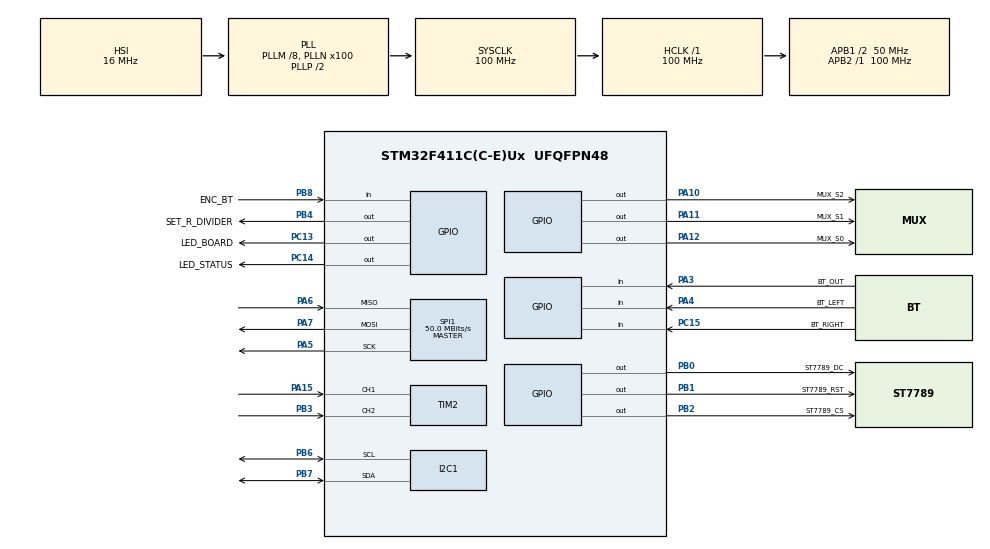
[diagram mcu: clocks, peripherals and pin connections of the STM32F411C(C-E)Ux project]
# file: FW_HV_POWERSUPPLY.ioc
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Dma.Request0=SPI1_RX
Dma.Request1=SPI1_TX
Dma.SPI1_RX.0.Direction=DMA_PERIPH_TO_MEMORY
Dma.SPI1_RX.0.FIFOMode=DMA_FIFOMODE_DISABLE
Dma.SPI1_RX.0.Instance=DMA2_Stream0
Dma.SPI1_RX.0.MemDataAlignment=DMA_MDATAALIGN_BYTE
Dma.SPI1_RX.0.MemInc=DMA_MINC_ENABLE
Dma.SPI1_RX.0.Mode=DMA_CIRCULAR
Dma.SPI1_RX.0.PeriphDataAlignment=DMA_PDATAALIGN_BYTE
Dma.SPI1_RX.0.PeriphInc=DMA_PINC_DISABLE
Dma.SPI1_RX.0.Priority=DMA_PRIORITY_VERY_HIGH
Dma.SPI1_TX.1.Direction=DMA_MEMORY_TO_PERIPH
Dma.SPI1_TX.1.FIFOMode=DMA_FIFOMODE_DISABLE
Dma.SPI1_TX.1.Instance=DMA2_Stream2
Dma.SPI1_TX.1.MemDataAlignment=DMA_MDATAALIGN_BYTE
Dma.SPI1_TX.1.MemInc=DMA_MINC_ENABLE
Dma.SPI1_TX.1.Mode=DMA_NORMAL
Dma.SPI1_TX.1.PeriphDataAlignment=DMA_PDATAALIGN_BYTE
Dma.SPI1_TX.1.PeriphInc=DMA_PINC_DISABLE
Dma.SPI1_TX.1.Priority=DMA_PRIORITY_VERY_HIGH
FREERTOS.Tasks01=defaultTask,0,128,StartDefaultTask,Default,NULL,Dynamic,NULL,NULL
FREERTOS.configUSE_NEWLIB_REENTRANT=1
Mcu.Family=STM32F4
Mcu.Name=STM32F411C(C-E)Ux
Mcu.Package=UFQFPN48
NVIC.DMA2_Stream0_IRQn=true\:5\:0\:false\:false\:true\:true\:false\:true\:true
NVIC.DMA2_Stream2_IRQn=true\:5\:0\:false\:false\:true\:true\:false\:true\:true
NVIC.PriorityGroup=NVIC_PRIORITYGROUP_4
NVIC.SPI1_IRQn=true\:5\:0\:false\:false\:true\:true\:true\:true\:true
NVIC.TIM1_UP_TIM10_IRQn=true\:15\:0\:false\:false\:true\:false\:false\:true\:true
NVIC.TimeBase=TIM1_UP_TIM10_IRQn
NVIC.TimeBaseIP=TIM1
PA10.GPIO_Label=MUX_S2
PA10.GPIO_PuPd=GPIO_PULLDOWN
PA10.Signal=GPIO_Output
PA11.GPIO_Label=MUX_S1
PA11.GPIO_PuPd=GPIO_PULLDOWN
PA11.Signal=GPIO_Output
PA12.GPIO_Label=MUX_S0
PA12.GPIO_PuPd=GPIO_PULLDOWN
PA12.Signal=GPIO_Output
PA13.Mode=Serial_Wire
PA13.Signal=SYS_JTMS-SWDIO
PA14.Mode=Serial_Wire
PA14.Signal=SYS_JTCK-SWCLK
PA15.Signal=S_TIM2_CH1_ETR
PA3.GPIO_Label=BT_OUT
PA3.Signal=GPIO_Input
PA4.GPIO_Label=BT_LEFT
PA4.Signal=GPIO_Input
PA5.Mode=Full_Duplex_Master
PA5.Signal=SPI1_SCK
PA6.Mode=Full_Duplex_Master
PA6.Signal=SPI1_MISO
PA7.Mode=Full_Duplex_Master
PA7.Signal=SPI1_MOSI
PB0.GPIO_Label=ST7789_DC
PB0.Signal=GPIO_Output
PB1.GPIO_Label=ST7789_RST
PB1.Signal=GPIO_Output
PB2.GPIO_Label=ST7789_CS
PB2.Signal=GPIO_Output
PB3.Signal=S_TIM2_CH2
PB4.GPIO_Label=SET_R_DIVIDER
PB4.GPIO_PuPd=GPIO_PULLDOWN
PB4.Signal=GPIO_Output
PB6.Mode=I2C
PB6.Signal=I2C1_SCL
PB7.Mode=I2C
PB7.Signal=I2C1_SDA
PB8.GPIO_Label=ENC_BT
PB8.Signal=GPIO_Input
PC13-ANTI_TAMP.GPIO_Label=LED_BOARD
PC13-ANTI_TAMP.Signal=GPIO_Output
PC14-OSC32_IN.GPIO_Label=LED_STATUS
PC14-OSC32_IN.Signal=GPIO_Output
PC15-OSC32_OUT.GPIO_Label=BT_RIGHT
PC15-OSC32_OUT.Signal=GPIO_Input
PH0\ -\ OSC_IN.Mode=HSE-External-Oscillator
PH0\ -\ OSC_IN.Signal=RCC_OSC_IN
PH1\ -\ OSC_OUT.Mode=HSE-External-Oscillator
PH1\ -\ OSC_OUT.Signal=RCC_OSC_OUT
ProjectManager.HeapSize=0x200
ProjectManager.StackSize=0x400
ProjectManager.TargetToolchain=STM32CubeIDE
RCC.48MHZClocksFreq_Value=50000000
RCC.AHBFreq_Value=100000000
RCC.APB1CLKDivider=RCC_HCLK_DIV2
RCC.APB1Freq_Value=50000000
RCC.APB1TimFreq_Value=100000000
RCC.APB2Freq_Value=100000000
RCC.APB2TimFreq_Value=100000000
RCC.CortexFreq_Value=100000000
RCC.HCLKFreq_Value=100000000
RCC.HSE_VALUE=25000000
RCC.HSI_VALUE=16000000
RCC.LSE_VALUE=32768
RCC.PLLM=8
RCC.PLLN=100
RCC.SYSCLKFreq_VALUE=100000000
RCC.SYSCLKSource=RCC_SYSCLKSOURCE_PLLCLK
RCC.VCOOutputFreq_Value=200000000
SH.S_TIM2_CH1_ETR.0=TIM2_CH1,Encoder_Interface
SH.S_TIM2_CH2.0=TIM2_CH2,Encoder_Interface
SPI1.CLKPolarity=SPI_POLARITY_HIGH
SPI1.CalculateBaudRate=50.0 MBits/s
SPI1.Direction=SPI_DIRECTION_2LINES
SPI1.Mode=SPI_MODE_MASTER
SPI1.VirtualType=VM_MASTER
TIM2.AutoReloadPreload=TIM_AUTORELOAD_PRELOAD_ENABLE
TIM2.EncoderMode=TIM_ENCODERMODE_TI12
TIM2.IC1Filter=12
TIM2.IC2Filter=0
VP_FREERTOS_VS_CMSIS_V1.Mode=CMSIS_V1
VP_SYS_VS_tim1.Mode=TIM1
board=custom

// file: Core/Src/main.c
/* USER CODE BEGIN Header */
/**
  ******************************************************************************
  * @file           : main.c
  * @brief          : Main program body
  ******************************************************************************
  * @attention
  *
  * Copyright (c) 2025 STMicroelectronics.
  * All rights reserved.
  *
  * This software is licensed under terms that can be found in the LICENSE file
  * in the root directory of this software component.
  * If no LICENSE file comes with this software, it is provided AS-IS.
  *
  ******************************************************************************
  */
/* USER CODE END Header */
#include "main.h"
#include "cmsis_os.h"

/* USER CODE BEGIN Includes */

#include "st7789.h"
#include "fonts.h"
#include "hmi.h"
#include "encoder.h"
#include "dac.h"
#include "adc.h"
#include "app.h"
/* USER CODE END Includes */

I2C_HandleTypeDef hi2c1;

SPI_HandleTypeDef hspi1;
DMA_HandleTypeDef hdma_spi1_rx;
DMA_HandleTypeDef hdma_spi1_tx;

TIM_HandleTypeDef htim2;

osThreadId defaultTaskHandle;

void SystemClock_Config(void);
static void MX_GPIO_Init(void);
static void MX_DMA_Init(void);
static void MX_SPI1_Init(void);
static void MX_TIM2_Init(void);
static void MX_I2C1_Init(void);
void StartDefaultTask(void const * argument);

int main(void)
{

  /* MCU Configuration--------------------------------------------------------*/

  /* Reset of all peripherals, Initializes the Flash interface and the Systick. */
  HAL_Init();

  /* Configure the system clock */
  SystemClock_Config();

  /* Initialize all configured peripherals */
  MX_GPIO_Init();
  MX_DMA_Init();
  MX_SPI1_Init();
  MX_TIM2_Init();
  MX_I2C1_Init();
  /* USER CODE BEGIN 2 */

  HAL_TIM_Encoder_Start(&htim2, TIM_CHANNEL_ALL);

  DAC_MCP4725_set(DAC_VOLTAGE, 0);
  DAC_MCP4725_set(DAC_CURRENT, 0);

  /* USER CODE END 2 */

  /* Create the thread(s) */
  /* definition and creation of defaultTask */
  osThreadDef(defaultTask, StartDefaultTask, osPriorityNormal, 0, 128);
  defaultTaskHandle = osThreadCreate(osThread(defaultTask), NULL);

  /* Start scheduler */
  osKernelStart();

  /* We should never get here as control is now taken by the scheduler */

  /* Infinite loop */
  while (1)
  {

  }
}

void SystemClock_Config(void)
{
  RCC_OscInitTypeDef RCC_OscInitStruct = {0};
  RCC_ClkInitTypeDef RCC_ClkInitStruct = {0};

  /** Configure the main internal regulator output voltage
  */
  __HAL_RCC_PWR_CLK_ENABLE();
  __HAL_PWR_VOLTAGESCALING_CONFIG(PWR_REGULATOR_VOLTAGE_SCALE1);

  /** Initializes the RCC Oscillators according to the specified parameters
  * in the RCC_OscInitTypeDef structure.
  */
  RCC_OscInitStruct.OscillatorType = RCC_OSCILLATORTYPE_HSI;
  RCC_OscInitStruct.HSIState = RCC_HSI_ON;
  RCC_OscInitStruct.HSICalibrationValue = RCC_HSICALIBRATION_DEFAULT;
  RCC_OscInitStruct.PLL.PLLState = RCC_PLL_ON;
  RCC_OscInitStruct.PLL.PLLSource = RCC_PLLSOURCE_HSI;
  RCC_OscInitStruct.PLL.PLLM = 8;
  RCC_OscInitStruct.PLL.PLLN = 100;
  RCC_OscInitStruct.PLL.PLLP = RCC_PLLP_DIV2;
  RCC_OscInitStruct.PLL.PLLQ = 4;
  if (HAL_RCC_OscConfig(&RCC_OscInitStruct) != HAL_OK)
  {
    Error_Handler();
  }

  /** Initializes the CPU, AHB and APB buses clocks
  */
  RCC_ClkInitStruct.ClockType = RCC_CLOCKTYPE_HCLK|RCC_CLOCKTYPE_SYSCLK
                              |RCC_CLOCKTYPE_PCLK1|RCC_CLOCKTYPE_PCLK2;
  RCC_ClkInitStruct.SYSCLKSource = RCC_SYSCLKSOURCE_PLLCLK;
  RCC_ClkInitStruct.AHBCLKDivider = RCC_SYSCLK_DIV1;
  RCC_ClkInitStruct.APB1CLKDivider = RCC_HCLK_DIV2;
  RCC_ClkInitStruct.APB2CLKDivider = RCC_HCLK_DIV1;

  if (HAL_RCC_ClockConfig(&RCC_ClkInitStruct, FLASH_LATENCY_3) != HAL_OK)
  {
    Error_Handler();
  }
}

static void MX_I2C1_Init(void)
{

  hi2c1.Instance = I2C1;
  hi2c1.Init.ClockSpeed = 100000;
  hi2c1.Init.DutyCycle = I2C_DUTYCYCLE_2;
  hi2c1.Init.OwnAddress1 = 0;
  hi2c1.Init.AddressingMode = I2C_ADDRESSINGMODE_7BIT;
  hi2c1.Init.DualAddressMode = I2C_DUALADDRESS_DISABLE;
  hi2c1.Init.OwnAddress2 = 0;
  hi2c1.Init.GeneralCallMode = I2C_GENERALCALL_DISABLE;
  hi2c1.Init.NoStretchMode = I2C_NOSTRETCH_DISABLE;
  if (HAL_I2C_Init(&hi2c1) != HAL_OK)
  {
    Error_Handler();
  }

}

static void MX_SPI1_Init(void)
{

  /* SPI1 parameter configuration*/
  hspi1.Instance = SPI1;
  hspi1.Init.Mode = SPI_MODE_MASTER;
  hspi1.Init.Direction = SPI_DIRECTION_2LINES;
  hspi1.Init.DataSize = SPI_DATASIZE_8BIT;
  hspi1.Init.CLKPolarity = SPI_POLARITY_HIGH;
  hspi1.Init.CLKPhase = SPI_PHASE_1EDGE;
  hspi1.Init.NSS = SPI_NSS_SOFT;
  hspi1.Init.BaudRatePrescaler = SPI_BAUDRATEPRESCALER_2;
  hspi1.Init.FirstBit = SPI_FIRSTBIT_MSB;
  hspi1.Init.TIMode = SPI_TIMODE_DISABLE;
  hspi1.Init.CRCCalculation = SPI_CRCCALCULATION_DISABLE;
  hspi1.Init.CRCPolynomial = 10;
  if (HAL_SPI_Init(&hspi1) != HAL_OK)
  {
    Error_Handler();
  }

}

static void MX_TIM2_Init(void)
{

  TIM_Encoder_InitTypeDef sConfig = {0};
  TIM_MasterConfigTypeDef sMasterConfig = {0};

  htim2.Instance = TIM2;
  htim2.Init.Prescaler = 0;
  htim2.Init.CounterMode = TIM_COUNTERMODE_UP;
  htim2.Init.Period = 4294967295;
  htim2.Init.ClockDivision = TIM_CLOCKDIVISION_DIV1;
  htim2.Init.AutoReloadPreload = TIM_AUTORELOAD_PRELOAD_ENABLE;
  sConfig.EncoderMode = TIM_ENCODERMODE_TI12;
  sConfig.IC1Polarity = TIM_ICPOLARITY_RISING;
  sConfig.IC1Selection = TIM_ICSELECTION_DIRECTTI;
  sConfig.IC1Prescaler = TIM_ICPSC_DIV1;
  sConfig.IC1Filter = 12;
  sConfig.IC2Polarity = TIM_ICPOLARITY_RISING;
  sConfig.IC2Selection = TIM_ICSELECTION_DIRECTTI;
  sConfig.IC2Prescaler = TIM_ICPSC_DIV1;
  sConfig.IC2Filter = 0;
  if (HAL_TIM_Encoder_Init(&htim2, &sConfig) != HAL_OK)
  {
    Error_Handler();
  }
  sMasterConfig.MasterOutputTrigger = TIM_TRGO_RESET;
  sMasterConfig.MasterSlaveMode = TIM_MASTERSLAVEMODE_DISABLE;
  if (HAL_TIMEx_MasterConfigSynchronization(&htim2, &sMasterConfig) != HAL_OK)
  {
    Error_Handler();
  }

}

static void MX_DMA_Init(void)
{

  /* DMA controller clock enable */
  __HAL_RCC_DMA2_CLK_ENABLE();

  /* DMA interrupt init */
  /* DMA2_Stream0_IRQn interrupt configuration */
  HAL_NVIC_SetPriority(DMA2_Stream0_IRQn, 5, 0);
  HAL_NVIC_EnableIRQ(DMA2_Stream0_IRQn);
  /* DMA2_Stream2_IRQn interrupt configuration */
  HAL_NVIC_SetPriority(DMA2_Stream2_IRQn, 5, 0);
  HAL_NVIC_EnableIRQ(DMA2_Stream2_IRQn);

}

static void MX_GPIO_Init(void)
{
  GPIO_InitTypeDef GPIO_InitStruct = {0};

  /* GPIO Ports Clock Enable */
  __HAL_RCC_GPIOC_CLK_ENABLE();
  __HAL_RCC_GPIOH_CLK_ENABLE();
  __HAL_RCC_GPIOA_CLK_ENABLE();
  __HAL_RCC_GPIOB_CLK_ENABLE();

  /*Configure GPIO pin Output Level */
  HAL_GPIO_WritePin(GPIOC, LED_BOARD_Pin|LED_STATUS_Pin, GPIO_PIN_RESET);

  /*Configure GPIO pin Output Level */
  HAL_GPIO_WritePin(GPIOB, ST7789_DC_Pin|ST7789_RST_Pin|ST7789_CS_Pin|SET_R_DIVIDER_Pin, GPIO_PIN_RESET);

  /*Configure GPIO pin Output Level */
  HAL_GPIO_WritePin(GPIOA, MUX_S2_Pin|MUX_S1_Pin|MUX_S0_Pin, GPIO_PIN_RESET);

  /*Configure GPIO pins : LED_BOARD_Pin LED_STATUS_Pin */
  GPIO_InitStruct.Pin = LED_BOARD_Pin|LED_STATUS_Pin;
  GPIO_InitStruct.Mode = GPIO_MODE_OUTPUT_PP;
  GPIO_InitStruct.Pull = GPIO_NOPULL;
  GPIO_InitStruct.Speed = GPIO_SPEED_FREQ_LOW;
  HAL_GPIO_Init(GPIOC, &GPIO_InitStruct);

  /*Configure GPIO pin : BT_RIGHT_Pin */
  GPIO_InitStruct.Pin = BT_RIGHT_Pin;
  GPIO_InitStruct.Mode = GPIO_MODE_INPUT;
  GPIO_InitStruct.Pull = GPIO_NOPULL;
  HAL_GPIO_Init(BT_RIGHT_GPIO_Port, &GPIO_InitStruct);

  /*Configure GPIO pins : BT_OUT_Pin BT_LEFT_Pin */
  GPIO_InitStruct.Pin = BT_OUT_Pin|BT_LEFT_Pin;
  GPIO_InitStruct.Mode = GPIO_MODE_INPUT;
  GPIO_InitStruct.Pull = GPIO_NOPULL;
  HAL_GPIO_Init(GPIOA, &GPIO_InitStruct);

  /*Configure GPIO pins : ST7789_DC_Pin ST7789_RST_Pin ST7789_CS_Pin */
  GPIO_InitStruct.Pin = ST7789_DC_Pin|ST7789_RST_Pin|ST7789_CS_Pin;
  GPIO_InitStruct.Mode = GPIO_MODE_OUTPUT_PP;
  GPIO_InitStruct.Pull = GPIO_NOPULL;
  GPIO_InitStruct.Speed = GPIO_SPEED_FREQ_LOW;
  HAL_GPIO_Init(GPIOB, &GPIO_InitStruct);

  /*Configure GPIO pins : MUX_S2_Pin MUX_S1_Pin MUX_S0_Pin */
  GPIO_InitStruct.Pin = MUX_S2_Pin|MUX_S1_Pin|MUX_S0_Pin;
  GPIO_InitStruct.Mode = GPIO_MODE_OUTPUT_PP;
  GPIO_InitStruct.Pull = GPIO_PULLDOWN;
  GPIO_InitStruct.Speed = GPIO_SPEED_FREQ_LOW;
  HAL_GPIO_Init(GPIOA, &GPIO_InitStruct);

  /*Configure GPIO pin : SET_R_DIVIDER_Pin */
  GPIO_InitStruct.Pin = SET_R_DIVIDER_Pin;
  GPIO_InitStruct.Mode = GPIO_MODE_OUTPUT_PP;
  GPIO_InitStruct.Pull = GPIO_PULLDOWN;
  GPIO_InitStruct.Speed = GPIO_SPEED_FREQ_LOW;
  HAL_GPIO_Init(SET_R_DIVIDER_GPIO_Port, &GPIO_InitStruct);

  /*Configure GPIO pin : ENC_BT_Pin */
  GPIO_InitStruct.Pin = ENC_BT_Pin;
  GPIO_InitStruct.Mode = GPIO_MODE_INPUT;
  GPIO_InitStruct.Pull = GPIO_NOPULL;
  HAL_GPIO_Init(ENC_BT_GPIO_Port, &GPIO_InitStruct);

}

void StartDefaultTask(void const * argument)
{
  /* USER CODE BEGIN 5 */
  /* Infinite loop */
  ST7789_Init();
  ST7789_InvertColors(0);
  ST7789_Fill_Color(BLACK);
  hmi_init();
  encoder_init();
  DAC_MCP4725_init();
  adc_init();
  app_init();
  DAC_MCP4725_init();

  for(;;)
  {

    HAL_GPIO_TogglePin(LED_BOARD_GPIO_Port, LED_BOARD_Pin);
    vTaskDelay(500);
  }
  /* USER CODE END 5 */
}

void HAL_TIM_PeriodElapsedCallback(TIM_HandleTypeDef *htim)
{
  if (htim->Instance == TIM1)
  {
    HAL_IncTick();
  }
}

void Error_Handler(void)
{
  __disable_irq();
  while (1)
  {
  }
}
